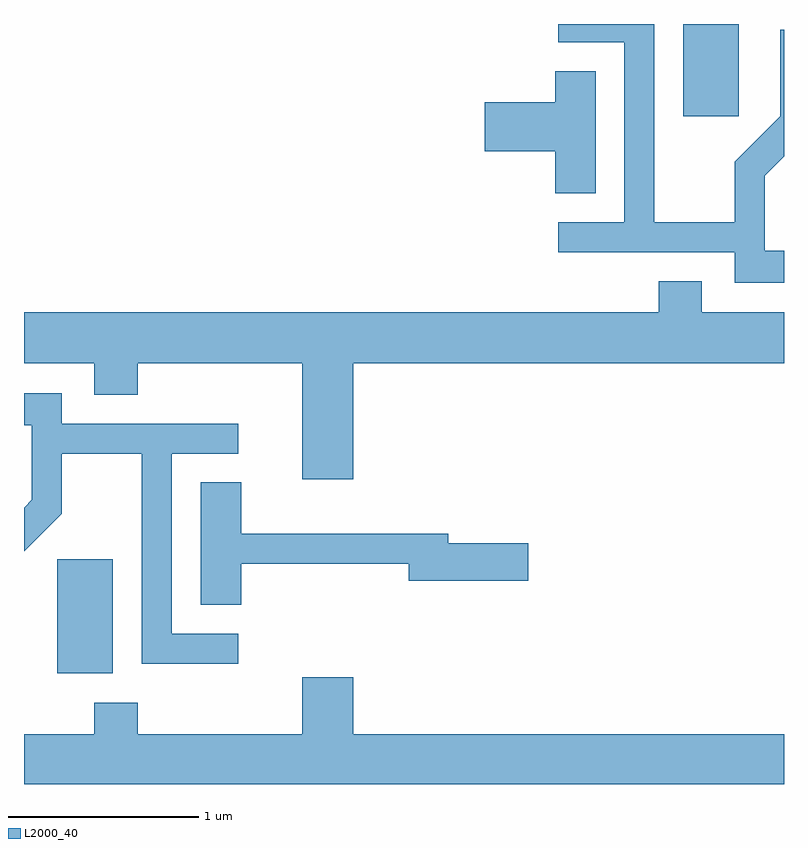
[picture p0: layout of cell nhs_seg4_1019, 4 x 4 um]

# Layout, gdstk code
import gdstk
lib = gdstk.Library(unit=1e-6, precision=1e-09)
def R(c, l, rs):  # rectangles x0, y0, x1, y1
    for r in rs: c.add(gdstk.rectangle(r[:2], r[2:], *l))
def P(c, l, *ps):  # polygons
    for p in ps: c.add(gdstk.Polygon(p, *l))
L2000_40 = (2000, 40)

nhs_seg4_1019 = lib.new_cell('nhs_seg4_1019')
R(nhs_seg4_1019, L2000_40, [(213.786,1388.566,214.079,1389.164), (217.081,1391.496,217.374,1391.982)])
P(nhs_seg4_1019, L2000_40, [(217.611,1390.789),(217.509,1390.789),(217.509,1391.184),(217.611,1391.286),(217.611,1391.953),(217.591,1391.953),(217.591,1391.497),(217.351,1391.257),(217.351,1390.939),(216.929,1390.939),(216.929,1391.982),(216.423,1391.982),(216.423,1391.886),(216.771,1391.886),(216.771,1390.939),(216.423,1390.939),(216.423,1390.781),(217.351,1390.781),(217.351,1390.621),(217.611,1390.621)],
  [(216.619,1391.734),(216.406,1391.734),(216.406,1391.569),(216.036,1391.569),(216.036,1391.311),(216.406,1391.311),(216.406,1391.091),(216.619,1391.091)],
  [(215.344,1390.196),(217.611,1390.196),(217.611,1390.464),(217.179,1390.464),(217.179,1390.629),(216.951,1390.629),(216.951,1390.464),(213.611,1390.464),(213.611,1390.196),(213.981,1390.196),(213.981,1390.031),(214.209,1390.031),(214.209,1390.196),(215.076,1390.196),(215.076,1389.586),(215.344,1389.586)],
  [(214.738,1388.774),(214.389,1388.774),(214.389,1389.721),(214.738,1389.721),(214.738,1389.879),(213.809,1389.879),(213.809,1390.039),(213.611,1390.039),(213.611,1389.871),(213.651,1389.871),(213.651,1389.477),(213.611,1389.437),(213.611,1389.206),(213.809,1389.404),(213.809,1389.721),(214.231,1389.721),(214.231,1388.616),(214.738,1388.616)],
  [(214.754,1389.141),(215.636,1389.141),(215.636,1389.051),(216.264,1389.051),(216.264,1389.249),(215.844,1389.249),(215.844,1389.299),(214.754,1389.299),(214.754,1389.569),(214.541,1389.569),(214.541,1388.926),(214.754,1388.926)],
  [(217.611,1388.244),(215.344,1388.244),(215.344,1388.544),(215.076,1388.544),(215.076,1388.244),(214.209,1388.244),(214.209,1388.409),(213.981,1388.409),(213.981,1388.244),(213.611,1388.244),(213.611,1387.982),(217.611,1387.982)])

lib.write_gds('nhs_seg4_1019.gds')
